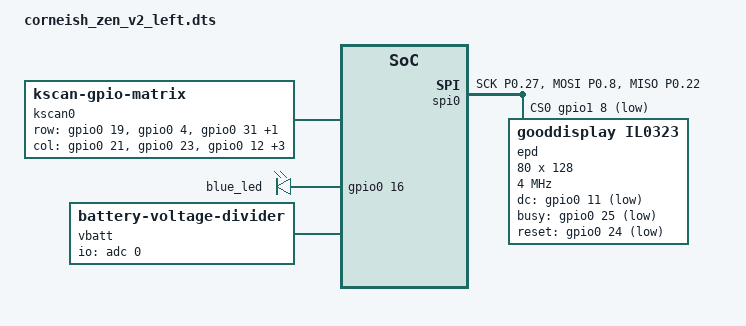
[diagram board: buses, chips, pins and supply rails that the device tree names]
/*
*
* Copyright (c) 2021 Darryl deHaan
* SPDX-License-Identifier: MIT
*
*/

#include "corneish_zen.dtsi"

/{
    chosen {
        zephyr,display = &epd;
        zmk,battery = &vbatt;
    };

    kscan0: kscan {
        compatible = "zmk,kscan-gpio-matrix";

        diode-direction = "col2row";
        row-gpios
            = <&gpio0 19 (GPIO_ACTIVE_HIGH | GPIO_PULL_DOWN)>
            , <&gpio0  4 (GPIO_ACTIVE_HIGH | GPIO_PULL_DOWN)>
            , <&gpio0 31 (GPIO_ACTIVE_HIGH | GPIO_PULL_DOWN)>
            , <&gpio0 30 (GPIO_ACTIVE_HIGH | GPIO_PULL_DOWN)>
            ;

        col-gpios
            = <&gpio0 21 GPIO_ACTIVE_HIGH>
            , <&gpio0 23 GPIO_ACTIVE_HIGH>
            , <&gpio0 12 GPIO_ACTIVE_HIGH>
            , <&gpio1  9 GPIO_ACTIVE_HIGH>
            , <&gpio0  7 GPIO_ACTIVE_HIGH>
            , <&gpio0  5 GPIO_ACTIVE_HIGH>
            ;
    };

    leds {
        compatible = "gpio-leds";
        blue_led: led_0 {
            gpios = <&gpio0 16 GPIO_ACTIVE_HIGH>;
        };
    };

    vbatt: vbatt {
        compatible = "zmk,battery-voltage-divider";
        io-channels = <&adc 0>;
        output-ohms = <1960000>;
        full-ohms = <(1960000 + 810000)>;
    };

};

&pinctrl {
    spi0_default: spi0_default {
        group1 {
            psels = <NRF_PSEL(SPIM_SCK, 0, 27)>,
                <NRF_PSEL(SPIM_MOSI, 0, 8)>,
                <NRF_PSEL(SPIM_MISO, 0, 22)>;
        };
    };

    spi0_sleep: spi0_sleep {
        group1 {
            psels = <NRF_PSEL(SPIM_SCK, 0, 27)>,
                <NRF_PSEL(SPIM_MOSI, 0, 8)>,
                <NRF_PSEL(SPIM_MISO, 0, 22)>;
            low-power-enable;
        };
    };
};

&spi0 {
    status = "okay";
    compatible = "nordic,nrf-spim";
    pinctrl-0 = <&spi0_default>;
    pinctrl-1 = <&spi0_sleep>;
    pinctrl-names = "default", "sleep";
    cs-gpios = <&gpio1 8 GPIO_ACTIVE_LOW>;

    epd: il0323@0 {
        compatible = "gooddisplay,il0323";
        reg =  <0>;
        width = <80>;
        height = <128>;
        spi-max-frequency = <4000000>;
        dc-gpios = <&gpio0 11 GPIO_ACTIVE_LOW>;
        busy-gpios = <&gpio0 25 GPIO_ACTIVE_LOW>;
        reset-gpios = <&gpio0 24 GPIO_ACTIVE_LOW>;
        pwr = [03 00 26 26];
        cdi = <0xd2>;
        tcon = <0x22>;
    };
};
